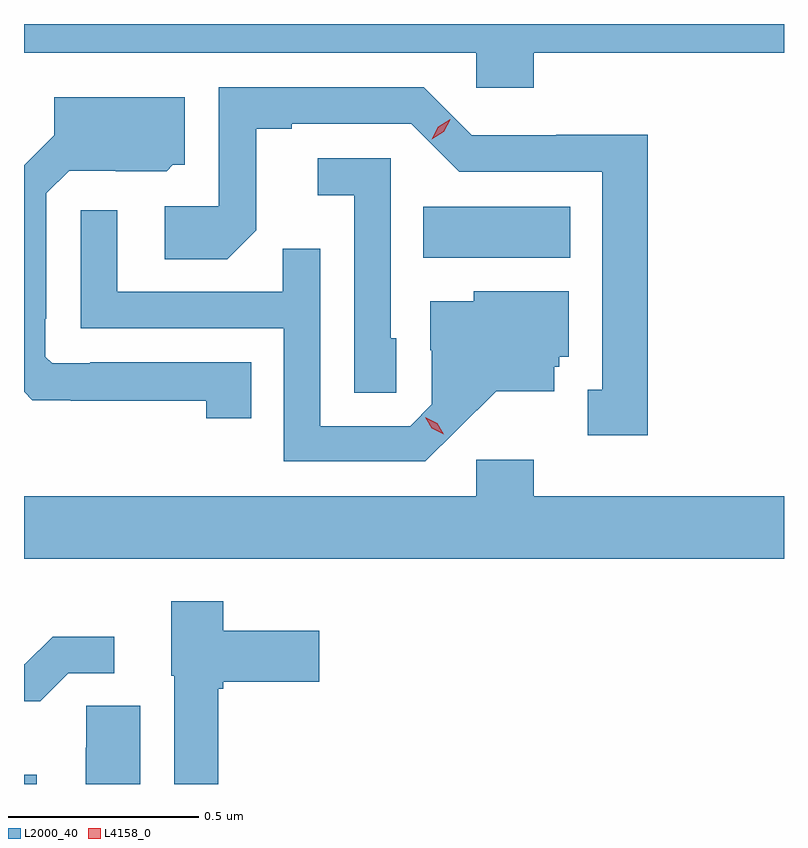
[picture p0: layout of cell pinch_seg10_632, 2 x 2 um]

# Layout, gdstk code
import gdstk
lib = gdstk.Library(unit=1e-6, precision=1e-09)
def R(c, l, rs):  # rectangles x0, y0, x1, y1
    for r in rs: c.add(gdstk.rectangle(r[:2], r[2:], *l))
def P(c, l, *ps):  # polygons
    for p in ps: c.add(gdstk.Polygon(p, *l))
L2000_40 = (2000, 40)
L4158_0 = (4158, 0)

pinch_seg10_632 = lib.new_cell('pinch_seg10_632')
R(pinch_seg10_632, L2000_40, [(289.498,1283.739,289.531,1283.764), (290.548,1285.124,290.935,1285.258)])
P(pinch_seg10_632, L2000_40, [(290.84,1285.664),(291.498,1285.664),(291.498,1285.739),(289.498,1285.739),(289.498,1285.664),(290.688,1285.664),(290.688,1285.571),(290.84,1285.571)],
  [(291.139,1285.448),(290.898,1285.448),(290.898,1285.446),(290.676,1285.446),(290.55,1285.572),(290.01,1285.572),(290.01,1285.26),(289.869,1285.26),(289.869,1285.12),(290.033,1285.12),(290.109,1285.196),(290.109,1285.464),(290.203,1285.464),(290.203,1285.476),(290.517,1285.476),(290.643,1285.35),(291.02,1285.35),(291.02,1284.777),(290.981,1284.777),(290.981,1284.657),(291.139,1284.657)],
  [(290.096,1284.849),(289.672,1284.849),(289.672,1284.846),(289.572,1284.846),(289.554,1284.864),(289.554,1284.964),(289.557,1284.964),(289.557,1285.293),(289.617,1285.353),(289.74,1285.353),(289.74,1285.352),(289.874,1285.352),(289.89,1285.368),(289.921,1285.368),(289.921,1285.546),(289.577,1285.546),(289.577,1285.446),(289.498,1285.367),(289.498,1284.771),(289.52,1284.749),(289.621,1284.749),(289.621,1284.748),(289.978,1284.748),(289.978,1284.702),(290.096,1284.702)],
  [(290.478,1284.912),(290.463,1284.912),(290.463,1285.386),(290.271,1285.386),(290.271,1285.289),(290.367,1285.289),(290.367,1284.769),(290.478,1284.769)],
  [(290.638,1284.671),(290.741,1284.773),(290.893,1284.773),(290.893,1284.837),(290.907,1284.837),(290.907,1284.864),(290.932,1284.864),(290.932,1285.036),(290.682,1285.036),(290.682,1285.009),(290.567,1285.009),(290.567,1284.88),(290.571,1284.88),(290.571,1284.738),(290.514,1284.681),(290.277,1284.681),(290.277,1285.148),(290.179,1285.148),(290.179,1285.035),(289.743,1285.035),(289.743,1285.249),(289.647,1285.249),(289.647,1284.939),(290.181,1284.939),(290.181,1284.588),(290.554,1284.588)],
  [(291.498,1284.496),(290.84,1284.496),(290.84,1284.592),(290.688,1284.592),(290.688,1284.496),(289.498,1284.496),(289.498,1284.332),(291.498,1284.332)],
  [(290.009,1283.99),(290.022,1283.99),(290.022,1284.008),(290.275,1284.008),(290.275,1284.142),(290.022,1284.142),(290.022,1284.22),(289.886,1284.22),(289.886,1284.024),(289.893,1284.024),(289.893,1283.739),(290.009,1283.739)],
  [(289.614,1284.03),(289.735,1284.03),(289.735,1284.127),(289.573,1284.127),(289.5,1284.054),(289.498,1284.054),(289.498,1283.957),(289.541,1283.957)],
  [(289.804,1283.945),(289.662,1283.945),(289.662,1283.834),(289.661,1283.834),(289.661,1283.739),(289.804,1283.739)])
P(pinch_seg10_632, L4158_0, [(290.571,1285.436),(290.571,1285.436),(290.588,1285.468),(290.62,1285.488),(290.62,1285.488),(290.62,1285.487),(290.603,1285.455),(290.571,1285.436)],
  [(290.602,1284.66),(290.571,1284.675),(290.554,1284.704),(290.554,1284.704),(290.554,1284.704),(290.585,1284.689),(290.602,1284.66),(290.602,1284.66)])

lib.write_gds('pinch_seg10_632.gds')
